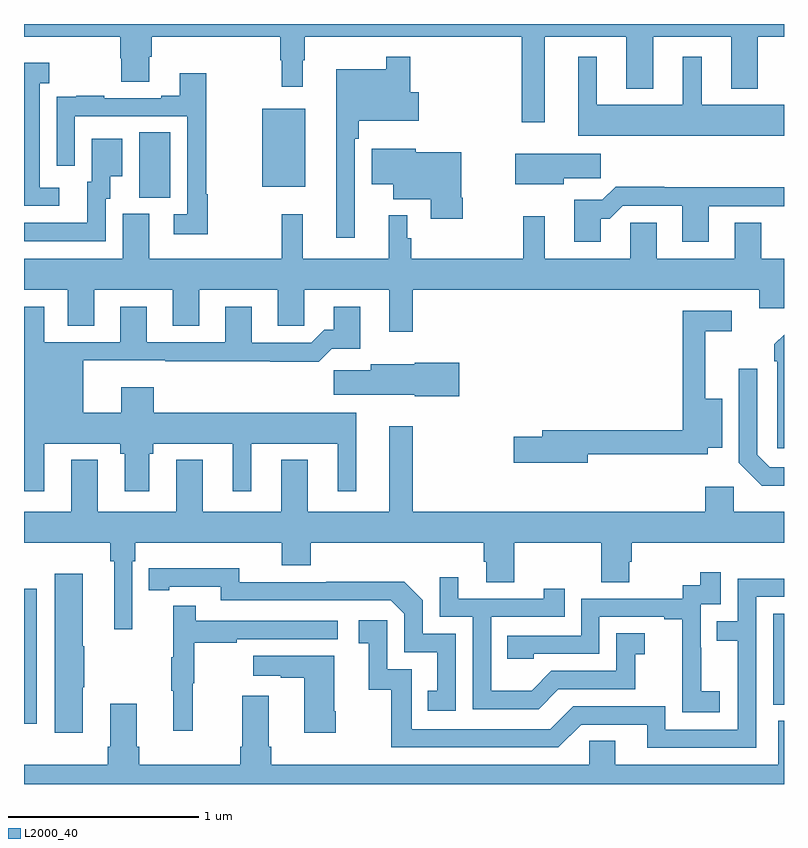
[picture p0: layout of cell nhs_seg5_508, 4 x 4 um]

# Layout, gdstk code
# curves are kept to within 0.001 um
import gdstk
lib = gdstk.Library(unit=1e-6, precision=1e-09)
def R(c, l, rs):  # rectangles x0, y0, x1, y1
    for r in rs: c.add(gdstk.rectangle(r[:2], r[2:], *l))
def P(c, l, *ps):  # polygons
    for p in ps: c.add(gdstk.Polygon(p, *l))
L2000_40 = (2000, 40)

nhs_seg5_508 = lib.new_cell('nhs_seg5_508')
R(nhs_seg5_508, L2000_40, [(143,881.117,143.067,881.827), (146.943,881.217,147,881.694), (143.606,883.885,143.77,884.228), (144.254,883.943,144.481,884.353)])
P(nhs_seg5_508, L2000_40, [(145.741,884.732),(146.171,884.732),(146.171,884.459),(146.311,884.459),(146.311,884.732),(146.723,884.732),(146.723,884.459),(146.863,884.459),(146.863,884.732),(147,884.732),(147,884.799),(143,884.799),(143,884.732),(143.507,884.732),(143.507,884.619),(143.512,884.619),(143.512,884.494),(143.659,884.494),(143.659,884.626),(143.672,884.626),(143.672,884.732),(144.349,884.732),(144.349,884.609),(144.357,884.609),(144.357,884.469),(144.466,884.469),(144.466,884.609),(144.478,884.609),(144.478,884.732),(145.62,884.732),(145.62,884.283),(145.741,884.283)],
  [(147,884.374),(146.566,884.374),(146.566,884.626),(146.468,884.626),(146.468,884.374),(146.014,884.374),(146.014,884.626),(145.916,884.626),(145.916,884.21),(147,884.21)],
  [(144.741,884.195),(144.761,884.195),(144.761,884.291),(145.078,884.291),(145.078,884.439),(145.034,884.439),(145.034,884.626),(144.906,884.626),(144.906,884.56),(144.644,884.56),(144.644,883.674),(144.741,883.674)],
  [(143.185,883.938),(143.082,883.938),(143.082,884.486),(143.134,884.486),(143.134,884.596),(143,884.596),(143,883.842),(143.185,883.842)],
  [(143.968,883.904),(143.96,883.904),(143.96,884.539),(143.819,884.539),(143.819,884.422),(143.723,884.422),(143.723,884.409),(143.423,884.409),(143.423,884.422),(143.275,884.422),(143.275,884.415),(143.173,884.415),(143.173,884.306),(143.172,884.306),(143.172,884.052),(143.268,884.052),(143.268,884.313),(143.859,884.313),(143.859,883.797),(143.787,883.797),(143.787,883.692),(143.968,883.692)],
  [(143.43,883.878),(143.455,883.878),(143.455,883.997),(143.518,883.997),(143.518,884.194),(143.357,884.194),(143.357,883.968),(143.333,883.968),(143.333,883.752),(143,883.752),(143,883.656),(143.43,883.656)],
  [(145.308,883.885),(145.3,883.885),(145.3,884.125),(145.062,884.125),(145.062,884.143),(144.83,884.143),(144.83,883.955),(144.944,883.955),(144.944,883.877),(145.142,883.877),(145.142,883.773),(145.308,883.773)],
  [(145.84,883.987),(146.035,883.987),(146.035,884.116),(145.586,884.116),(145.586,883.955),(145.84,883.955)],
  [(146.035,883.775),(146.084,883.775),(146.151,883.842),(146.465,883.842),(146.465,883.653),(146.605,883.653),(146.605,883.839),(147,883.839),(147,883.94),(146.369,883.94),(146.369,883.943),(146.114,883.943),(146.044,883.873),(145.895,883.873),(145.895,883.653),(146.035,883.653)],
  [(145.045,883.4),(146.87,883.4),(146.87,883.302),(147,883.302),(147,883.564),(146.881,883.564),(146.881,883.754),(146.741,883.754),(146.741,883.564),(146.329,883.564),(146.329,883.754),(146.19,883.754),(146.19,883.564),(145.741,883.564),(145.741,883.786),(145.627,883.786),(145.627,883.564),(145.037,883.564),(145.037,883.671),(145.017,883.671),(145.017,883.792),(144.92,883.792),(144.92,883.564),(144.467,883.564),(144.467,883.798),(144.357,883.798),(144.357,883.564),(143.659,883.564),(143.659,883.8),(143.519,883.8),(143.519,883.564),(143,883.564),(143,883.4),(143.231,883.4),(143.231,883.21),(143.371,883.21),(143.371,883.4),(143.783,883.4),(143.783,883.21),(143.923,883.21),(143.923,883.4),(144.335,883.4),(144.335,883.21),(144.474,883.21),(144.474,883.4),(144.923,883.4),(144.923,883.179),(145.045,883.179)],
  [(143.107,882.59),(143.506,882.59),(143.506,882.537),(143.531,882.537),(143.531,882.339),(143.659,882.339),(143.659,882.537),(143.679,882.537),(143.679,882.59),(144.098,882.59),(144.098,882.339),(144.196,882.339),(144.196,882.59),(144.65,882.59),(144.65,882.339),(144.748,882.339),(144.748,882.754),(143.684,882.754),(143.684,882.886),(143.513,882.886),(143.513,882.754),(143.311,882.754),(143.311,883.028),(143.743,883.028),(143.743,883.024),(144.295,883.024),(144.295,883.022),(144.551,883.022),(144.62,883.091),(144.769,883.091),(144.769,883.312),(144.629,883.312),(144.629,883.189),(144.58,883.189),(144.513,883.122),(144.199,883.122),(144.199,883.312),(144.059,883.312),(144.059,883.125),(143.647,883.125),(143.647,883.312),(143.507,883.312),(143.507,883.125),(143.107,883.125),(143.107,883.312),(143,883.312),(143,882.339),(143.107,882.339)],
  [(145.966,882.534),(146.598,882.534),(146.598,882.569),(146.674,882.569),(146.674,882.826),(146.585,882.826),(146.585,883.182),(146.725,883.182),(146.725,883.29),(146.467,883.29),(146.467,882.662),(145.727,882.662),(145.727,882.626),(145.578,882.626),(145.578,882.491),(145.966,882.491)],
  [(147,883.164),(146.949,883.113),(146.949,883.025),(146.964,883.025),(146.964,882.567),(147,882.567)],
  [(145.291,883.017),(145.056,883.017),(145.056,883.009),(144.824,883.009),(144.824,882.977),(144.63,882.977),(144.63,882.848),(145.056,882.848),(145.056,882.839),(145.291,882.839)],
  [(147,882.465),(146.925,882.465),(146.859,882.531),(146.859,882.985),(146.763,882.985),(146.763,882.489),(146.884,882.368),(147,882.368)],
  [(143.571,881.972),(143.585,881.972),(143.585,882.068),(144.356,882.068),(144.356,881.951),(144.509,881.951),(144.509,882.068),(145.421,882.068),(145.421,881.97),(145.433,881.97),(145.433,881.86),(145.581,881.86),(145.581,882.068),(146.038,882.068),(146.038,881.86),(146.185,881.86),(146.185,881.97),(146.198,881.97),(146.198,882.068),(147,882.068),(147,882.232),(146.736,882.232),(146.736,882.364),(146.585,882.364),(146.585,882.232),(145.045,882.232),(145.045,882.682),(144.923,882.682),(144.923,882.232),(144.493,882.232),(144.493,882.505),(144.353,882.505),(144.353,882.232),(143.941,882.232),(143.941,882.505),(143.801,882.505),(143.801,882.232),(143.389,882.232),(143.389,882.505),(143.249,882.505),(143.249,882.232),(143,882.232),(143,882.068),(143.455,882.068),(143.455,881.972),(143.474,881.972),(143.474,881.613),(143.571,881.613)],
  [(145.272,881.589),(145.098,881.589),(145.098,881.766),(145,881.864),(144.592,881.864),(144.592,881.862),(144.132,881.862),(144.132,881.935),(143.656,881.934),(143.656,881.818),(143.764,881.818),(143.764,881.838),(144.036,881.838),(144.036,881.766),(144.93,881.766),(145.002,881.694),(145.002,881.493),(145.175,881.493),(145.175,881.289),(145.126,881.289),(145.126,881.184),(145.272,881.184)],
  [(146.662,881.287),(146.564,881.287),(146.564,881.516),(146.562,881.516),(146.562,881.745),(146.667,881.745),(146.667,881.914),(146.559,881.914),(146.559,881.844),(146.466,881.844),(146.466,881.775),(145.932,881.775),(145.932,881.58),(145.543,881.58),(145.543,881.457),(145.683,881.457),(145.683,881.484),(146.028,881.484),(146.028,881.679),(146.369,881.679),(146.369,881.667),(146.465,881.667),(146.465,881.383),(146.464,881.383),(146.464,881.177),(146.662,881.177)],
  [(143.308,881.308),(143.316,881.308),(143.316,881.525),(143.308,881.525),(143.308,881.905),(143.162,881.905),(143.162,881.07),(143.308,881.07)],
  [(145.813,881.298),(146.217,881.298),(146.217,881.483),(146.266,881.483),(146.266,881.593),(146.118,881.593),(146.118,881.394),(145.776,881.394),(145.672,881.29),(145.458,881.29),(145.458,881.679),(145.847,881.679),(145.847,881.827),(145.736,881.827),(145.736,881.775),(145.285,881.775),(145.285,881.887),(145.188,881.887),(145.188,881.679),(145.362,881.679),(145.362,881.193),(145.708,881.193)],
  [(146.853,881.784),(147,881.784),(147,881.88),(146.757,881.88),(146.757,881.655),(146.647,881.655),(146.647,881.554),(146.757,881.554),(146.757,881.085),(146.376,881.085),(146.376,881.208),(145.89,881.208),(145.77,881.088),(145.041,881.088),(145.041,881.403),(144.912,881.403),(144.912,881.662),(144.762,881.662),(144.762,881.541),(144.815,881.541),(144.815,881.295),(144.933,881.295),(144.933,880.992),(145.812,880.992),(145.932,881.112),(146.279,881.112),(146.279,880.989),(146.853,880.989)],
  [(143.888,881.328),(143.896,881.328),(143.896,881.542),(144.119,881.542),(144.119,881.562),(144.652,881.562),(144.652,881.658),(143.903,881.658),(143.903,881.737),(143.786,881.737),(143.786,881.465),(143.775,881.465),(143.775,881.291),(143.786,881.291),(143.786,881.079),(143.888,881.079)],
  [(144.642,881.182),(144.634,881.182),(144.634,881.473),(144.207,881.473),(144.207,881.369),(144.35,881.369),(144.35,881.359),(144.476,881.359),(144.476,881.07),(144.642,881.07)],
  [(147,881.132),(146.969,881.132),(146.969,880.9),(146.113,880.9),(146.113,881.027),(145.974,881.027),(145.974,880.9),(144.302,880.9),(144.302,880.996),(144.289,880.996),(144.289,881.263),(144.149,881.263),(144.149,880.996),(144.137,880.996),(144.137,880.9),(143.606,880.9),(143.606,880.996),(143.593,880.996),(143.593,881.221),(143.453,881.221),(143.453,880.996),(143.441,880.996),(143.441,880.9),(143,880.9),(143,880.799),(147,880.799)])

lib.write_gds('nhs_seg5_508.gds')
